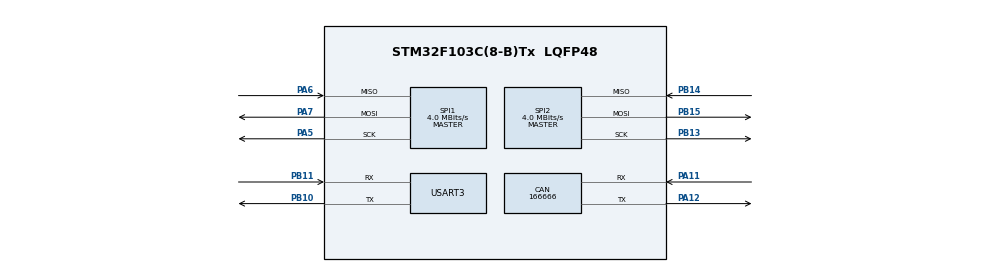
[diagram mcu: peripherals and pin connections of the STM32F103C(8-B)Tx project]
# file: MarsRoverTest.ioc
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Mcu.Family=STM32F1
PA6.Mode=Full_Duplex_Master
PA7.Mode=Full_Duplex_Master
SPI1.VirtualType=VM_MASTER
SPI2.VirtualType=VM_MASTER
PB10.Mode=Asynchronous
CAN.CalculateBaudRate=166666
PA11.Mode=CAN_Activate
PB11.Signal=USART3_RX
VP_SYS_VS_ND.Mode=No_Debug
PB15.Signal=SPI2_MOSI
PB13.Signal=SPI2_SCK
CAN.CalculateTimeBit=6000.00
ProjectManager.StackSize=0x400
PA12.Signal=CAN_TX
PB11.Mode=Asynchronous
ProjectManager.TargetToolchain=STM32CubeIDE
SPI1.Direction=SPI_DIRECTION_2LINES
SPI1.CalculateBaudRate=4.0 MBits/s
PB10.Signal=USART3_TX
PB14.Signal=SPI2_MISO
PA5.Signal=SPI1_SCK
board=custom
PB15.Mode=Full_Duplex_Master
RCC.APB2Freq_Value=8000000
SPI1.Mode=SPI_MODE_MASTER
PB14.Mode=Full_Duplex_Master
SPI2.CalculateBaudRate=4.0 MBits/s
Mcu.Name=STM32F103C(8-B)Tx
CAN.CalculateTimeQuantum=2000.0
Mcu.Package=LQFP48
PA6.Signal=SPI1_MISO
SPI2.Mode=SPI_MODE_MASTER
PA12.Mode=CAN_Activate
USART3.VirtualMode=VM_ASYNC
PA11.Signal=CAN_RX
ProjectManager.HeapSize=0x200
NVIC.PriorityGroup=NVIC_PRIORITYGROUP_4
SPI2.Direction=SPI_DIRECTION_2LINES
PB13.Mode=Full_Duplex_Master
RCC.APB1Freq_Value=8000000
PA5.Mode=Full_Duplex_Master
PA7.Signal=SPI1_MOSI

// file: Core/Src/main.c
/* USER CODE BEGIN Header */
/**
  ******************************************************************************
  * @file           : main.c
  * @brief          : Main program body
  ******************************************************************************
  * @attention
  *
  * <h2><center>&copy; Copyright (c) 2023 STMicroelectronics.
  * All rights reserved.</center></h2>
  *
  * This software component is licensed by ST under BSD 3-Clause license,
  * the "License"; You may not use this file except in compliance with the
  * License. You may obtain a copy of the License at:
  *                        opensource.org/licenses/BSD-3-Clause
  *
  ******************************************************************************
  */
/* USER CODE END Header */
#include "main.h"
#include <stdbool.h>
#include <stdint.h>
#include <string.h>

/* USER CODE BEGIN PTD */

void setTimestamp(uint32_t * time);
bool timeElapsed(uint32_t * time, uint32_t elapsed);
uint32_t getTimestamp();
void modifyTargetSteps(int change);
void setTargetSteps(int target);
void zeroSteps();
void processCanMessage();

#define QUEUE_SIZE 5

typedef struct
{
	uint8_t head;
	uint8_t tail;
	CAN_RAD_MESSAGE queue[QUEUE_SIZE];
} CAN_QUEUE;

/* USER CODE END PTD */

/* USER CODE BEGIN PD */

#define DIRECTION_FORWARD 1
#define DIRECTION_BACKWARD 0

#define STEP_PIN_PIN_PERIOD_MS 2

/* USER CODE END PD */

CAN_HandleTypeDef hcan;

SPI_HandleTypeDef hspi1;
SPI_HandleTypeDef hspi2;

UART_HandleTypeDef huart3;

int steps;
int targetSteps;
bool dir;
bool inverted;
bool reachedTarget;

uint32_t pinTime;

CAN_QUEUE queue;

CAN_RxHeaderTypeDef RxHeader;
uint8_t RxData[8];

enum PIN_STATE
{
	PIN_STATE_IDLE = 0,
	PIN_STATE_STEP_HIGH,
	PIN_STATE_STEP_HIGH_IDLE,
	PIN_STATE_DIR_HIGH,
	PIN_STATE_DIR_HIGH_IDLE,
	PIN_STATE_STEP_LOW,
	PIN_STATE_STEP_LOW_IDLE,
	PIN_STATE_DIR_LOW,
	PIN_STATE_DIR_LOW_IDLE
} pinState = PIN_STATE_IDLE;

void SystemClock_Config(void);
static void MX_GPIO_Init(void);
static void MX_CAN_Init(void);
static void MX_SPI1_Init(void);
static void MX_SPI2_Init(void);
static void MX_USART3_UART_Init(void);

int main(void)
{

  /* MCU Configuration--------------------------------------------------------*/

  /* Reset of all peripherals, Initializes the Flash interface and the Systick. */
  HAL_Init();

  /* Configure the system clock */
  SystemClock_Config();

  /* Initialize all configured peripherals */
  MX_GPIO_Init();
  MX_CAN_Init();
  MX_SPI1_Init();
  MX_SPI2_Init();
  MX_USART3_UART_Init();

  /* Infinite loop */
  /* USER CODE BEGIN WHILE */
  while (1)
  {

	  if (queue.head != queue.tail)
	  {
		  //queue is not empty
		  processCanMessage();

		  //erase message, increment head
		  memset(&queue.queue[queue.head], 0, sizeof(CAN_RAD_MESSAGE));
		  queue.head = (queue.head + 1) % QUEUE_SIZE;
	  }

	  //SWAP DIR IF NEEDED
	  static enum DIR_PIN_STATE
	  {
		DIR_PIN_STATE_IDLE = 0,
		DIR_PIN_STATE_HIGH,
		DIR_PIN_STATE_LOW
	  } dirPinState = DIR_PIN_STATE_IDLE;

	  switch (dirPinState)
	  {
		  case DIR_PIN_STATE_IDLE:

			  if ((steps < targetSteps) && (dir != DIRECTION_FORWARD))
			  {
				  //need to set DIR pin forward
				  dirPinState = DIR_PIN_STATE_HIGH;
			  }
			  else if ((steps > targetSteps) && (dir != DIRECTION_BACKWARD))
			  {
				  dirPinState = DIR_PIN_STATE_LOW;
			  }

			  break;

		  case DIR_PIN_STATE_HIGH:
			  //set GPIO
			  dir = DIRECTION_FORWARD;
			  dirPinState = DIR_PIN_STATE_IDLE;
			  break;

		  case DIR_PIN_STATE_LOW:
			  //set GPIO;
			  dir = DIRECTION_BACKWARD;
			  dirPinState = DIR_PIN_STATE_IDLE;
			  break;

		  default:
			  break;

	  }

	  //STEP MOTOR
	  static enum STEP_PIN_STATE
	  {
	  	STEP_PIN_STATE_IDLE = 0,
	  	STEP_PIN_STATE_HIGH,
	  	STEP_PIN_STATE_STEP_HIGH_IDLE,
	  	STEP_PIN_STATE_HIGH_IDLE,
	  	STEP_PIN_STATE_LOW,
	  	STEP_PIN_STATE_LOW_IDLE,
	  } stepPinState = STEP_PIN_STATE_IDLE;

	  switch (stepPinState)
	  {
	  	  case STEP_PIN_STATE_IDLE:

	  		if (steps == targetSteps)
			{
	  			if (!reachedTarget)
	  			{
	  				reachedTarget = true;
	  			}
			}
	  		else
	  		{
	  			reachedTarget = false;

	  			if (steps < targetSteps)
	  			{
	  				steps = steps + (!inverted ? 1: -1);
	  			}
	  			else if (steps > targetSteps)
	  			{
	  				steps = steps + (!inverted? -1 : 1);
	  			}

	  			stepPinState = STEP_PIN_STATE_HIGH;
	  		}

	  		break;

	  	  case STEP_PIN_STATE_HIGH:
	  		  //set pin to high
	  		  setTimestamp(&pinTime);
	  		  stepPinState = STEP_PIN_STATE_HIGH_IDLE;
	  		  break;

	  	  case STEP_PIN_STATE_HIGH_IDLE:

	  		  //has completed half the period
	  		  if (timeElapsed(&pinTime, STEP_PIN_PIN_PERIOD_MS / 2))
	  		  {
	  			  stepPinState = STEP_PIN_STATE_LOW;
	  		  }
	  		  break;

	  	  case STEP_PIN_STATE_LOW:
			  //set pin to low
			  setTimestamp(&pinTime);
			  stepPinState = STEP_PIN_STATE_LOW_IDLE;
			  break;

		  case STEP_PIN_STATE_LOW_IDLE:

			  //has completed half the period
			  if (timeElapsed(&pinTime, STEP_PIN_PIN_PERIOD_MS / 2))
			  {
				  stepPinState = STEP_PIN_STATE_IDLE;
			  }
			  break;
		  default:
			  break;
	  }

	  if (reachedTarget)
	  {
		  //send can message
	  }

    /* USER CODE END WHILE */

  }
}

void SystemClock_Config(void)
{
  RCC_OscInitTypeDef RCC_OscInitStruct = {0};
  RCC_ClkInitTypeDef RCC_ClkInitStruct = {0};

  /** Initializes the RCC Oscillators according to the specified parameters
  * in the RCC_OscInitTypeDef structure.
  */
  RCC_OscInitStruct.OscillatorType = RCC_OSCILLATORTYPE_HSI;
  RCC_OscInitStruct.HSIState = RCC_HSI_ON;
  RCC_OscInitStruct.HSICalibrationValue = RCC_HSICALIBRATION_DEFAULT;
  RCC_OscInitStruct.PLL.PLLState = RCC_PLL_NONE;
  if (HAL_RCC_OscConfig(&RCC_OscInitStruct) != HAL_OK)
  {
    Error_Handler();
  }
  /** Initializes the CPU, AHB and APB buses clocks
  */
  RCC_ClkInitStruct.ClockType = RCC_CLOCKTYPE_HCLK|RCC_CLOCKTYPE_SYSCLK
                              |RCC_CLOCKTYPE_PCLK1|RCC_CLOCKTYPE_PCLK2;
  RCC_ClkInitStruct.SYSCLKSource = RCC_SYSCLKSOURCE_HSI;
  RCC_ClkInitStruct.AHBCLKDivider = RCC_SYSCLK_DIV1;
  RCC_ClkInitStruct.APB1CLKDivider = RCC_HCLK_DIV1;
  RCC_ClkInitStruct.APB2CLKDivider = RCC_HCLK_DIV1;

  if (HAL_RCC_ClockConfig(&RCC_ClkInitStruct, FLASH_LATENCY_0) != HAL_OK)
  {
    Error_Handler();
  }
}

static void MX_CAN_Init(void)
{

  hcan.Instance = CAN1;
  hcan.Init.Prescaler = 16;
  hcan.Init.Mode = CAN_MODE_NORMAL;
  hcan.Init.SyncJumpWidth = CAN_SJW_1TQ;
  hcan.Init.TimeSeg1 = CAN_BS1_1TQ;
  hcan.Init.TimeSeg2 = CAN_BS2_1TQ;
  hcan.Init.TimeTriggeredMode = DISABLE;
  hcan.Init.AutoBusOff = DISABLE;
  hcan.Init.AutoWakeUp = DISABLE;
  hcan.Init.AutoRetransmission = DISABLE;
  hcan.Init.ReceiveFifoLocked = DISABLE;
  hcan.Init.TransmitFifoPriority = DISABLE;
  if (HAL_CAN_Init(&hcan) != HAL_OK)
  {
    Error_Handler();
  }

}

static void MX_SPI1_Init(void)
{

  /* SPI1 parameter configuration*/
  hspi1.Instance = SPI1;
  hspi1.Init.Mode = SPI_MODE_MASTER;
  hspi1.Init.Direction = SPI_DIRECTION_2LINES;
  hspi1.Init.DataSize = SPI_DATASIZE_8BIT;
  hspi1.Init.CLKPolarity = SPI_POLARITY_LOW;
  hspi1.Init.CLKPhase = SPI_PHASE_1EDGE;
  hspi1.Init.NSS = SPI_NSS_SOFT;
  hspi1.Init.BaudRatePrescaler = SPI_BAUDRATEPRESCALER_2;
  hspi1.Init.FirstBit = SPI_FIRSTBIT_MSB;
  hspi1.Init.TIMode = SPI_TIMODE_DISABLE;
  hspi1.Init.CRCCalculation = SPI_CRCCALCULATION_DISABLE;
  hspi1.Init.CRCPolynomial = 10;
  if (HAL_SPI_Init(&hspi1) != HAL_OK)
  {
    Error_Handler();
  }

}

static void MX_SPI2_Init(void)
{

  /* SPI2 parameter configuration*/
  hspi2.Instance = SPI2;
  hspi2.Init.Mode = SPI_MODE_MASTER;
  hspi2.Init.Direction = SPI_DIRECTION_2LINES;
  hspi2.Init.DataSize = SPI_DATASIZE_8BIT;
  hspi2.Init.CLKPolarity = SPI_POLARITY_LOW;
  hspi2.Init.CLKPhase = SPI_PHASE_1EDGE;
  hspi2.Init.NSS = SPI_NSS_SOFT;
  hspi2.Init.BaudRatePrescaler = SPI_BAUDRATEPRESCALER_2;
  hspi2.Init.FirstBit = SPI_FIRSTBIT_MSB;
  hspi2.Init.TIMode = SPI_TIMODE_DISABLE;
  hspi2.Init.CRCCalculation = SPI_CRCCALCULATION_DISABLE;
  hspi2.Init.CRCPolynomial = 10;
  if (HAL_SPI_Init(&hspi2) != HAL_OK)
  {
    Error_Handler();
  }

}

static void MX_USART3_UART_Init(void)
{

  huart3.Instance = USART3;
  huart3.Init.BaudRate = 115200;
  huart3.Init.WordLength = UART_WORDLENGTH_8B;
  huart3.Init.StopBits = UART_STOPBITS_1;
  huart3.Init.Parity = UART_PARITY_NONE;
  huart3.Init.Mode = UART_MODE_TX_RX;
  huart3.Init.HwFlowCtl = UART_HWCONTROL_NONE;
  huart3.Init.OverSampling = UART_OVERSAMPLING_16;
  if (HAL_UART_Init(&huart3) != HAL_OK)
  {
    Error_Handler();
  }

}

static void MX_GPIO_Init(void)
{

  /* GPIO Ports Clock Enable */
  __HAL_RCC_GPIOA_CLK_ENABLE();
  __HAL_RCC_GPIOB_CLK_ENABLE();

}

/* USER CODE BEGIN 4 */
void HAL_CAN_RxFifo0MsgPendingCallback(CAN_HandleTypeDef *hcan)
{
  HAL_GPIO_TogglePin(GPIOA, GPIO_PIN_5);
  HAL_CAN_GetRxMessage(hcan, CAN_RX_FIFO0, &RxHeader, RxData);

  CAN_RAD_MESSAGE newMessage;
  newMessage.id.value = RxHeader.ExtId;
  memcpy(newMessage.data, RxData, sizeof(newMessage.data));

  if (queue.head != ((queue.tail + 1) % QUEUE_SIZE))
  {
	  memcpy(&queue.queue[queue.tail], &newMessage, sizeof(CAN_RAD_MESSAGE));
	  queue.tail = (queue.tail + 1) % QUEUE_SIZE;

  }

}
/* USER CODE END 4 */

void Error_Handler(void)
{
  __disable_irq();
  while (1)
  {
  }
}

void setTimestamp(uint32_t * time)
{
	*time = HAL_GetTick();
}

uint32_t getTimestamp()
{
	return HAL_GetTick();
}

bool timeElapsed(uint32_t * time, uint32_t elapsed)
{
	return HAL_GetTick() - elapsed >= *(time);
}

void modifyTargetSteps(int change)
{
	targetSteps = targetSteps + change;
}

void setTargetSteps(int target)
{
	targetSteps = target;
}

void zeroSteps()
{
	targetSteps = 0;
	steps = 0;
}

void processCanMessage()
{
	CAN_RAD_MESSAGE *msg;

	msg = &queue.queue[queue.head];
	switch(msg->id.function)
	{
		case RAD_FUNCTION_IDENTIFIER_STEP_STOP:
			zeroSteps();
			break;
		case RAD_FUNCTION_IDENTIFIER_STEP_CW:
		{
			int newSteps;
			memcpy(&newSteps, msg->data, sizeof(newSteps));
			modifyTargetSteps(newSteps);
		}
	}

}

/************************ (C) COPYRIGHT STMicroelectronics *****END OF FILE****/
